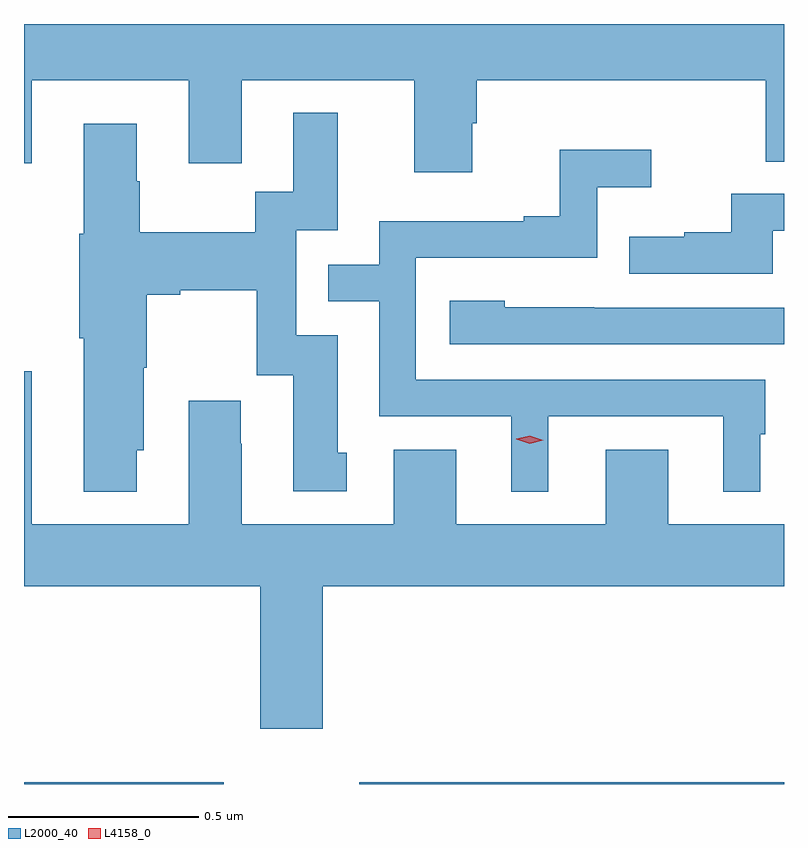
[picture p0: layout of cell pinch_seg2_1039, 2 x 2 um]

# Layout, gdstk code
import gdstk
lib = gdstk.Library(unit=1e-6, precision=1e-09)
def R(c, l, rs):  # rectangles x0, y0, x1, y1
    for r in rs: c.add(gdstk.rectangle(r[:2], r[2:], *l))
def P(c, l, *ps):  # polygons
    for p in ps: c.add(gdstk.Polygon(p, *l))
L2000_40 = (2000, 40)
L4158_0 = (4158, 0)

pinch_seg2_1039 = lib.new_cell('pinch_seg2_1039')
R(pinch_seg2_1039, L2000_40, [(368.182,593.836,368.708,593.84), (369.064,593.836,370.182,593.84)])
P(pinch_seg2_1039, L2000_40, [(369.361,595.575),(369.374,595.575),(369.374,595.688),(370.134,595.688),(370.134,595.474),(370.182,595.474),(370.182,595.836),(368.182,595.836),(368.182,595.47),(368.203,595.47),(368.203,595.688),(368.615,595.688),(368.615,595.47),(368.755,595.47),(368.755,595.688),(369.209,595.688),(369.209,595.446),(369.361,595.446)],
  [(368.479,594.714),(368.497,594.714),(368.497,594.931),(368.505,594.931),(368.505,595.124),(368.593,595.124),(368.593,595.136),(368.795,595.136),(368.795,594.912),(368.891,594.912),(368.891,594.606),(369.031,594.606),(369.031,594.708),(369.007,594.708),(369.007,595.017),(368.898,595.017),(368.898,595.293),(369.007,595.293),(369.007,595.603),(368.891,595.603),(368.891,595.394),(368.79,595.394),(368.79,595.288),(368.487,595.288),(368.487,595.422),(368.479,595.422),(368.479,595.573),(368.339,595.573),(368.339,595.284),(368.327,595.284),(368.327,595.009),(368.339,595.009),(368.339,594.605),(368.479,594.605)],
  [(369.562,594.804),(370.022,594.804),(370.022,594.605),(370.12,594.605),(370.12,594.756),(370.132,594.756),(370.132,594.9),(369.213,594.9),(369.213,595.221),(369.69,595.221),(369.69,595.406),(369.832,595.406),(369.832,595.505),(369.592,595.505),(369.592,595.33),(369.497,595.33),(369.497,595.317),(369.117,595.317),(369.117,595.203),(368.983,595.203),(368.983,595.107),(369.117,595.107),(369.117,594.804),(369.464,594.804),(369.464,594.605),(369.562,594.605)],
  [(370.153,595.292),(370.182,595.292),(370.182,595.389),(370.043,595.389),(370.043,595.288),(369.919,595.288),(369.919,595.276),(369.775,595.276),(369.775,595.179),(370.153,595.179)],
  [(370.182,595.089),(369.683,595.089),(369.683,595.09),(369.447,595.09),(369.447,595.108),(369.303,595.108),(369.303,594.993),(370.182,594.993)],
  [(368.968,594.356),(370.182,594.356),(370.182,594.52),(369.877,594.52),(369.877,594.715),(369.713,594.715),(369.713,594.52),(369.319,594.52),(369.319,594.715),(369.155,594.715),(369.155,594.52),(368.755,594.52),(368.755,594.731),(368.752,594.731),(368.752,594.844),(368.615,594.844),(368.615,594.52),(368.203,594.52),(368.203,594.922),(368.182,594.922),(368.182,594.356),(368.804,594.356),(368.804,593.982),(368.968,593.982)])
P(pinch_seg2_1039, L4158_0, [(369.513,594.732),(369.478,594.743),(369.477,594.744),(369.478,594.744),(369.513,594.752),(369.548,594.741),(369.549,594.741),(369.548,594.741)])

lib.write_gds('pinch_seg2_1039.gds')
